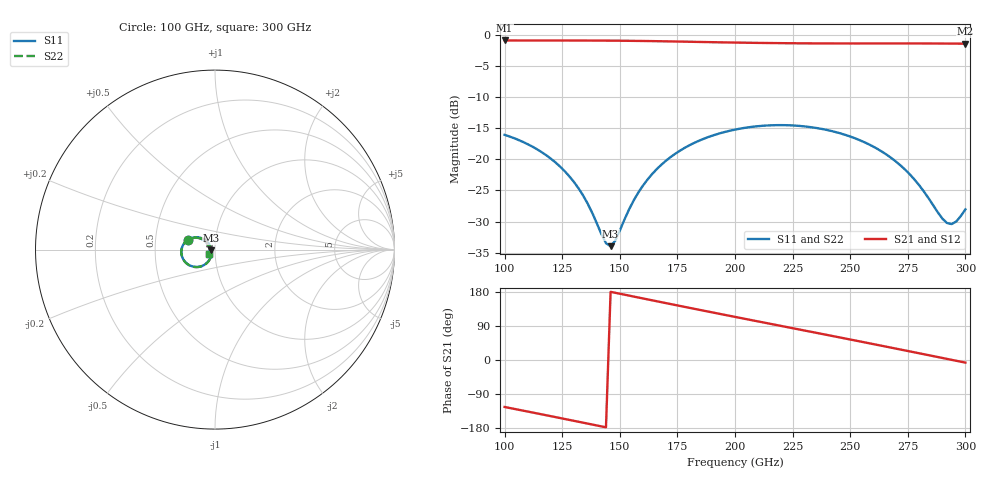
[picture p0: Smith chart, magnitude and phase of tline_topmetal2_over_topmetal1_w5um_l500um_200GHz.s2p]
#  GHZ S DB R 50
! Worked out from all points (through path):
!   101 points, 100 GHz to 300 GHz, reference 50 ohm
!   highest |S21| = -0.91 dB at 100 GHz (marker M1); lowest = -1.4 dB at 300 GHz (marker M2)
!   group delay of S21, straight-line fit = 3.37 ps
!   lowest |S11| = -33.9 dB at 146 GHz (marker M3), VSWR 1.04, Z = 48.1 - j0.372 ohm
!   |S11| at or under -10 dB: start of sweep to end of sweep
!   |S22| runs from -33.8 to -14.5 dB; largest |S21 - S12| = 1.5e-14
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100  -16.06 160.5  -0.91 -124.0  -0.91 -124.0  -16.05 160.8
110  -17.56 149.8  -0.92 -136.0  -0.92 -136.0  -17.54 150.1
120  -19.87 140.4  -0.92 -148.2  -0.92 -148.2  -19.85 140.8
128  -22.68 135.1  -0.92 -157.9  -0.92 -157.9  -22.65 135.5
134  -25.76 134.9  -0.92 -165.3  -0.92 -165.3  -25.72 135.4
144  -33.47 170.7  -0.94 -177.7  -0.94 -177.7  -33.37 171.0
146  -33.94 -168.9  -0.94 179.8  -0.94 179.8  -33.85 -168.9
148  -33.08 -149.6  -0.95 177.4  -0.95 177.4  -33.01 -149.8
154  -28.06 -122.8  -0.97 169.9  -0.97 169.9  -28.05 -122.8
158  -25.35 -119.0  -0.98 165.0  -0.98 165.0  -25.35 -118.9
162  -23.25 -119.0  -1.00 160.0  -1.00 160.0  -23.25 -118.8
168  -20.88 -122.1  -1.04 152.6  -1.04 152.6  -20.87 -121.8
182  -17.41 -134.3  -1.13 135.5  -1.13 135.5  -17.40 -134.0
200  -15.23 -152.6  -1.25 113.8  -1.25 113.8  -15.22 -152.2
216  -14.53 -169.2  -1.33 94.7  -1.33 94.7  -14.52 -168.7
234  -14.89 172.3  -1.38 73.2  -1.38 73.2  -14.87 172.8
252  -16.61 154.8  -1.39 51.7  -1.39 51.7  -16.58 155.4
268  -19.83 142.3  -1.39 32.3  -1.39 32.3  -19.79 142.9
278  -23.29 139.8  -1.39 20.1  -1.39 20.1  -23.23 140.5
292  -30.22 175.7  -1.41 2.9  -1.41 2.9  -30.13 175.8
296  -29.99 -159.1  -1.42 -2.0  -1.42 -2.0  -29.94 -159.1
300  -28.03 -141.0  -1.43 -6.9  -1.43 -6.9  -28.03 -140.9
